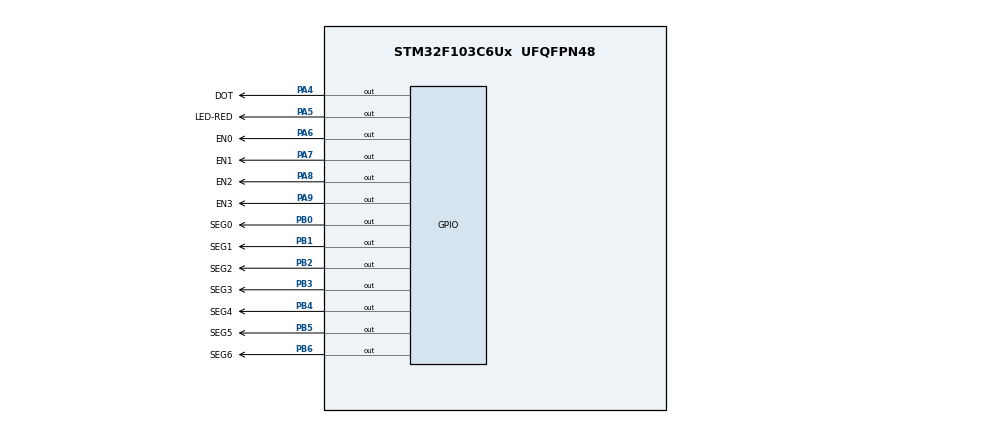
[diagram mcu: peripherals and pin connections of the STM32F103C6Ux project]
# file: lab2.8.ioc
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Mcu.Family=STM32F1
Mcu.Name=STM32F103C6Ux
Mcu.Package=UFQFPN48
NVIC.PriorityGroup=NVIC_PRIORITYGROUP_4
NVIC.TIM2_IRQn=true\:0\:0\:false\:false\:true\:true\:true
PA4.GPIO_Label=DOT
PA4.Signal=GPIO_Output
PA5.GPIO_Label=LED-RED
PA5.Signal=GPIO_Output
PA6.GPIO_Label=EN0
PA6.Signal=GPIO_Output
PA7.GPIO_Label=EN1
PA7.Signal=GPIO_Output
PA8.GPIO_Label=EN2
PA8.Signal=GPIO_Output
PA9.GPIO_Label=EN3
PA9.Signal=GPIO_Output
PB0.GPIO_Label=SEG0
PB0.Signal=GPIO_Output
PB1.GPIO_Label=SEG1
PB1.Signal=GPIO_Output
PB2.GPIO_Label=SEG2
PB2.Signal=GPIO_Output
PB3.GPIO_Label=SEG3
PB3.Signal=GPIO_Output
PB4.GPIO_Label=SEG4
PB4.Signal=GPIO_Output
PB5.GPIO_Label=SEG5
PB5.Signal=GPIO_Output
PB6.GPIO_Label=SEG6
PB6.Signal=GPIO_Output
ProjectManager.HeapSize=0x200
ProjectManager.StackSize=0x400
ProjectManager.TargetToolchain=STM32CubeIDE
RCC.APB1Freq_Value=8000000
RCC.APB2Freq_Value=8000000
TIM2.Period=9
TIM2.Prescaler=7999
VP_SYS_VS_ND.Mode=No_Debug
VP_TIM2_VS_ClockSourceINT.Mode=Internal
board=custom

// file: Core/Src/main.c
/* USER CODE BEGIN Header */
/**
  ******************************************************************************
  * @file           : main.c
  * @brief          : Main program body
  ******************************************************************************
  * @attention
  *
  * <h2><center>&copy; Copyright (c) 2024 STMicroelectronics.
  * All rights reserved.</center></h2>
  *
  * This software component is licensed by ST under BSD 3-Clause license,
  * the "License"; You may not use this file except in compliance with the
  * License. You may obtain a copy of the License at:
  *                        opensource.org/licenses/BSD-3-Clause
  *
  ******************************************************************************
  */
/* USER CODE END Header */
#include "main.h"

TIM_HandleTypeDef htim2;

void SystemClock_Config(void);
static void MX_GPIO_Init(void);
static void MX_TIM2_Init(void);
/* USER CODE BEGIN PFP */
int index = 0;
int segment_count = 25;
int led_count = 100;
int index_led = 0;
int led_buffer [4] = {1 , 2 , 3 , 4};

void display7SEG(int num)
{
	HAL_GPIO_WritePin(GPIOB, GPIO_PIN_All, SET);
	switch(num){
	case 0:
		HAL_GPIO_WritePin(GPIOB, SEG0_Pin, RESET);
		HAL_GPIO_WritePin(GPIOB, SEG1_Pin, RESET);
		HAL_GPIO_WritePin(GPIOB, SEG2_Pin, RESET);
		HAL_GPIO_WritePin(GPIOB, SEG3_Pin, RESET);
		HAL_GPIO_WritePin(GPIOB, SEG4_Pin, RESET);
		HAL_GPIO_WritePin(GPIOB, SEG5_Pin, RESET);
		break;
	case 1:
		HAL_GPIO_WritePin(GPIOB, SEG1_Pin, RESET);
		HAL_GPIO_WritePin(GPIOB, SEG2_Pin, RESET);
		break;
	case 2:
		HAL_GPIO_WritePin(GPIOB, SEG0_Pin, RESET);
		HAL_GPIO_WritePin(GPIOB, SEG1_Pin, RESET);
		HAL_GPIO_WritePin(GPIOB, SEG3_Pin, RESET);
		HAL_GPIO_WritePin(GPIOB, SEG4_Pin, RESET);
		HAL_GPIO_WritePin(GPIOB, SEG6_Pin, RESET);
		break;
	case 3:
		HAL_GPIO_WritePin(GPIOB, SEG0_Pin, RESET);
		HAL_GPIO_WritePin(GPIOB, SEG1_Pin, RESET);
		HAL_GPIO_WritePin(GPIOB, SEG2_Pin, RESET);
		HAL_GPIO_WritePin(GPIOB, SEG3_Pin, RESET);
		HAL_GPIO_WritePin(GPIOB, SEG6_Pin, RESET);
		break;
	case 4:
		HAL_GPIO_WritePin(GPIOB, SEG1_Pin, RESET);
		HAL_GPIO_WritePin(GPIOB, SEG2_Pin, RESET);
		HAL_GPIO_WritePin(GPIOB, SEG5_Pin, RESET);
		HAL_GPIO_WritePin(GPIOB, SEG6_Pin, RESET);
		break;
	case 5:
		HAL_GPIO_WritePin(GPIOB, SEG0_Pin, RESET);
		HAL_GPIO_WritePin(GPIOB, SEG2_Pin, RESET);
		HAL_GPIO_WritePin(GPIOB, SEG3_Pin, RESET);
		HAL_GPIO_WritePin(GPIOB, SEG5_Pin, RESET);
		HAL_GPIO_WritePin(GPIOB, SEG6_Pin, RESET);
		break;
	case 6:
		HAL_GPIO_WritePin(GPIOB, SEG0_Pin, RESET);
		HAL_GPIO_WritePin(GPIOB, SEG2_Pin, RESET);
		HAL_GPIO_WritePin(GPIOB, SEG3_Pin, RESET);
		HAL_GPIO_WritePin(GPIOB, SEG4_Pin, RESET);
		HAL_GPIO_WritePin(GPIOB, SEG5_Pin, RESET);
		HAL_GPIO_WritePin(GPIOB, SEG6_Pin, RESET);
		break;
	case 7:
		HAL_GPIO_WritePin(GPIOB, SEG0_Pin, RESET);
		HAL_GPIO_WritePin(GPIOB, SEG1_Pin, RESET);
		HAL_GPIO_WritePin(GPIOB, SEG2_Pin, RESET);
		break;
	case 8:
		HAL_GPIO_WritePin(GPIOB, SEG0_Pin, RESET);
		HAL_GPIO_WritePin(GPIOB, SEG1_Pin, RESET);
		HAL_GPIO_WritePin(GPIOB, SEG2_Pin, RESET);
		HAL_GPIO_WritePin(GPIOB, SEG3_Pin, RESET);
		HAL_GPIO_WritePin(GPIOB, SEG4_Pin, RESET);
		HAL_GPIO_WritePin(GPIOB, SEG5_Pin, RESET);
		HAL_GPIO_WritePin(GPIOB, SEG6_Pin, RESET);
		break;
	case 9:
		HAL_GPIO_WritePin(GPIOB, SEG0_Pin, RESET);
		HAL_GPIO_WritePin(GPIOB, SEG1_Pin, RESET);
		HAL_GPIO_WritePin(GPIOB, SEG2_Pin, RESET);
		HAL_GPIO_WritePin(GPIOB, SEG3_Pin, RESET);
		HAL_GPIO_WritePin(GPIOB, SEG5_Pin, RESET);
		HAL_GPIO_WritePin(GPIOB, SEG6_Pin, RESET);
		break;
	}
}
void updateClockBuffer(int hour, int minute){
	led_buffer[0]=hour/10;
	led_buffer[1]=hour%10;
	led_buffer[2]=minute/10;
	led_buffer[3]=minute%10;
}
 void update7SEG ( int index ) {
     HAL_GPIO_WritePin(EN0_GPIO_Port, EN0_Pin, GPIO_PIN_SET);
     HAL_GPIO_WritePin(EN1_GPIO_Port, EN1_Pin, GPIO_PIN_SET);
     HAL_GPIO_WritePin(EN2_GPIO_Port, EN2_Pin, GPIO_PIN_SET);
     HAL_GPIO_WritePin(EN3_GPIO_Port, EN3_Pin, GPIO_PIN_SET);
 switch ( index ) {
 	 case 0:
 		 // Display the first 7 SEG with led_buffer [0]
		HAL_GPIO_WritePin(EN0_GPIO_Port, EN0_Pin, RESET);
		display7SEG(led_buffer[0]);
		break ;
 	 case 1:
 		 // Display the second 7 SEG with led_buffer [1]
		HAL_GPIO_WritePin(EN1_GPIO_Port, EN1_Pin, RESET);
		display7SEG(led_buffer[1]);
		break ;
 	 case 2:
 		 // Display the third 7 SEG with led_buffer [2]
		HAL_GPIO_WritePin(EN2_GPIO_Port, EN2_Pin, RESET);
		display7SEG(led_buffer[2]);
		break ;
 	 case 3:
 		 // Display the forth 7 SEG with led_buffer [3]
		HAL_GPIO_WritePin(EN3_GPIO_Port, EN3_Pin, RESET);
		display7SEG(led_buffer[3]);
		break ;
 	 default :
	 	break ;
 	 }
 }

 void HAL_TIM_PeriodElapsedCallback ( TIM_HandleTypeDef * htim )
 {
	 timer_run () ;
 }
/* USER CODE END PFP */

/* USER CODE BEGIN 0 */
int hour = 15, minute = 8, second = 50;
int timer1_counter = 0;
int timer2_counter = 0;
int timer3_counter = 0;
int timer4_counter = 0;
int timer1_flag = 0;
int timer2_flag = 0;
int timer3_flag = 0;
int timer4_flag = 0;
int TIMER_CYCLE = 10;

void setTimer1 ( int duration ) {
	timer1_counter = duration / TIMER_CYCLE ;
	timer1_flag = 0;
}
void setTimer2 ( int duration ) {
	timer2_counter = duration / TIMER_CYCLE ;
	timer2_flag = 0;
}

void setTimer3 ( int duration ) {
	timer3_counter = duration / TIMER_CYCLE ;
	timer3_flag = 0;
}

void setTimer4 ( int duration ) {
	timer4_counter = duration / TIMER_CYCLE ;
	timer4_flag = 0;
}
void timer_run ()
{
	if( timer1_counter > 0)
	{
		timer1_counter --;
		if( timer1_counter == 0) timer1_flag = 1;
	}
	if( timer2_counter > 0)
	{
		timer2_counter --;
		if( timer2_counter == 0) timer2_flag = 1;
	}
	if( timer3_counter > 0)
	{
		timer3_counter --;
		if( timer3_counter == 0) timer3_flag = 1;
	}
	if( timer4_counter > 0)
	{
		timer4_counter --;
		if( timer4_counter == 0) timer4_flag = 1;
	}
}
/* USER CODE END 0 */

int main(void)
{

  HAL_Init();

  SystemClock_Config();

  MX_GPIO_Init();
  MX_TIM2_Init();
  /* USER CODE BEGIN 2 */
  HAL_TIM_Base_Start_IT(&htim2);

  setTimer3(1000);

  int hour = 15 , minute = 8 , second = 50;
  updateClockBuffer(hour, minute);
  setTimer1(1000);

  const int MAX_LED = 4;
  int index_led = 0;
  setTimer2(250);

  while (1)
  {
    /* USER CODE END WHILE */
	  if( timer1_flag == 1) {
		   second ++;
		   if ( second >= 60) {
			   second = 0;
			   minute ++;
		   }
		   if( minute >= 60) {
			   minute = 0;
			   hour ++;
		   }
		   if( hour >=24) {
			   hour = 0;
		   }
		  updateClockBuffer (hour, minute) ;
		  setTimer1(1000);
	  }
	  if(timer3_flag==1){
		  HAL_GPIO_TogglePin(GPIOA, DOT_Pin);
		  setTimer3(1000);
	  }
	  if (timer2_flag == 1) {
	  	if (index_led >= MAX_LED) index_led = 0;
	  	update7SEG(index_led++);
	  	setTimer2(250);
	  }
  }
  /* USER CODE END 3 */
}

void SystemClock_Config(void)
{
  RCC_OscInitTypeDef RCC_OscInitStruct = {0};
  RCC_ClkInitTypeDef RCC_ClkInitStruct = {0};

  /** Initializes the RCC Oscillators according to the specified parameters
  * in the RCC_OscInitTypeDef structure.
  */
  RCC_OscInitStruct.OscillatorType = RCC_OSCILLATORTYPE_HSI;
  RCC_OscInitStruct.HSIState = RCC_HSI_ON;
  RCC_OscInitStruct.HSICalibrationValue = RCC_HSICALIBRATION_DEFAULT;
  RCC_OscInitStruct.PLL.PLLState = RCC_PLL_NONE;
  if (HAL_RCC_OscConfig(&RCC_OscInitStruct) != HAL_OK)
  {
    Error_Handler();
  }
  /** Initializes the CPU, AHB and APB buses clocks
  */
  RCC_ClkInitStruct.ClockType = RCC_CLOCKTYPE_HCLK|RCC_CLOCKTYPE_SYSCLK
                              |RCC_CLOCKTYPE_PCLK1|RCC_CLOCKTYPE_PCLK2;
  RCC_ClkInitStruct.SYSCLKSource = RCC_SYSCLKSOURCE_HSI;
  RCC_ClkInitStruct.AHBCLKDivider = RCC_SYSCLK_DIV1;
  RCC_ClkInitStruct.APB1CLKDivider = RCC_HCLK_DIV1;
  RCC_ClkInitStruct.APB2CLKDivider = RCC_HCLK_DIV1;

  if (HAL_RCC_ClockConfig(&RCC_ClkInitStruct, FLASH_LATENCY_0) != HAL_OK)
  {
    Error_Handler();
  }
}

static void MX_TIM2_Init(void)
{

  TIM_ClockConfigTypeDef sClockSourceConfig = {0};
  TIM_MasterConfigTypeDef sMasterConfig = {0};

  htim2.Instance = TIM2;
  htim2.Init.Prescaler = 7999;
  htim2.Init.CounterMode = TIM_COUNTERMODE_UP;
  htim2.Init.Period = 9;
  htim2.Init.ClockDivision = TIM_CLOCKDIVISION_DIV1;
  htim2.Init.AutoReloadPreload = TIM_AUTORELOAD_PRELOAD_DISABLE;
  if (HAL_TIM_Base_Init(&htim2) != HAL_OK)
  {
    Error_Handler();
  }
  sClockSourceConfig.ClockSource = TIM_CLOCKSOURCE_INTERNAL;
  if (HAL_TIM_ConfigClockSource(&htim2, &sClockSourceConfig) != HAL_OK)
  {
    Error_Handler();
  }
  sMasterConfig.MasterOutputTrigger = TIM_TRGO_RESET;
  sMasterConfig.MasterSlaveMode = TIM_MASTERSLAVEMODE_DISABLE;
  if (HAL_TIMEx_MasterConfigSynchronization(&htim2, &sMasterConfig) != HAL_OK)
  {
    Error_Handler();
  }

}

static void MX_GPIO_Init(void)
{
  GPIO_InitTypeDef GPIO_InitStruct = {0};

  /* GPIO Ports Clock Enable */
  __HAL_RCC_GPIOA_CLK_ENABLE();
  __HAL_RCC_GPIOB_CLK_ENABLE();

  /*Configure GPIO pin Output Level */
  HAL_GPIO_WritePin(GPIOA, DOT_Pin|LED_RED_Pin|EN0_Pin|EN1_Pin
                          |EN2_Pin|EN3_Pin, GPIO_PIN_RESET);

  /*Configure GPIO pin Output Level */
  HAL_GPIO_WritePin(GPIOB, SEG0_Pin|SEG1_Pin|SEG2_Pin|SEG3_Pin
                          |SEG4_Pin|SEG5_Pin|SEG6_Pin, GPIO_PIN_RESET);

  /*Configure GPIO pins : DOT_Pin LED_RED_Pin EN0_Pin EN1_Pin
                           EN2_Pin EN3_Pin */
  GPIO_InitStruct.Pin = DOT_Pin|LED_RED_Pin|EN0_Pin|EN1_Pin
                          |EN2_Pin|EN3_Pin;
  GPIO_InitStruct.Mode = GPIO_MODE_OUTPUT_PP;
  GPIO_InitStruct.Pull = GPIO_NOPULL;
  GPIO_InitStruct.Speed = GPIO_SPEED_FREQ_LOW;
  HAL_GPIO_Init(GPIOA, &GPIO_InitStruct);

  /*Configure GPIO pins : SEG0_Pin SEG1_Pin SEG2_Pin SEG3_Pin
                           SEG4_Pin SEG5_Pin SEG6_Pin */
  GPIO_InitStruct.Pin = SEG0_Pin|SEG1_Pin|SEG2_Pin|SEG3_Pin
                          |SEG4_Pin|SEG5_Pin|SEG6_Pin;
  GPIO_InitStruct.Mode = GPIO_MODE_OUTPUT_PP;
  GPIO_InitStruct.Pull = GPIO_NOPULL;
  GPIO_InitStruct.Speed = GPIO_SPEED_FREQ_LOW;
  HAL_GPIO_Init(GPIOB, &GPIO_InitStruct);

}

void Error_Handler(void)
{
  __disable_irq();
  while (1)
  {
  }
}

/************************ (C) COPYRIGHT STMicroelectronics *****END OF FILE****/
